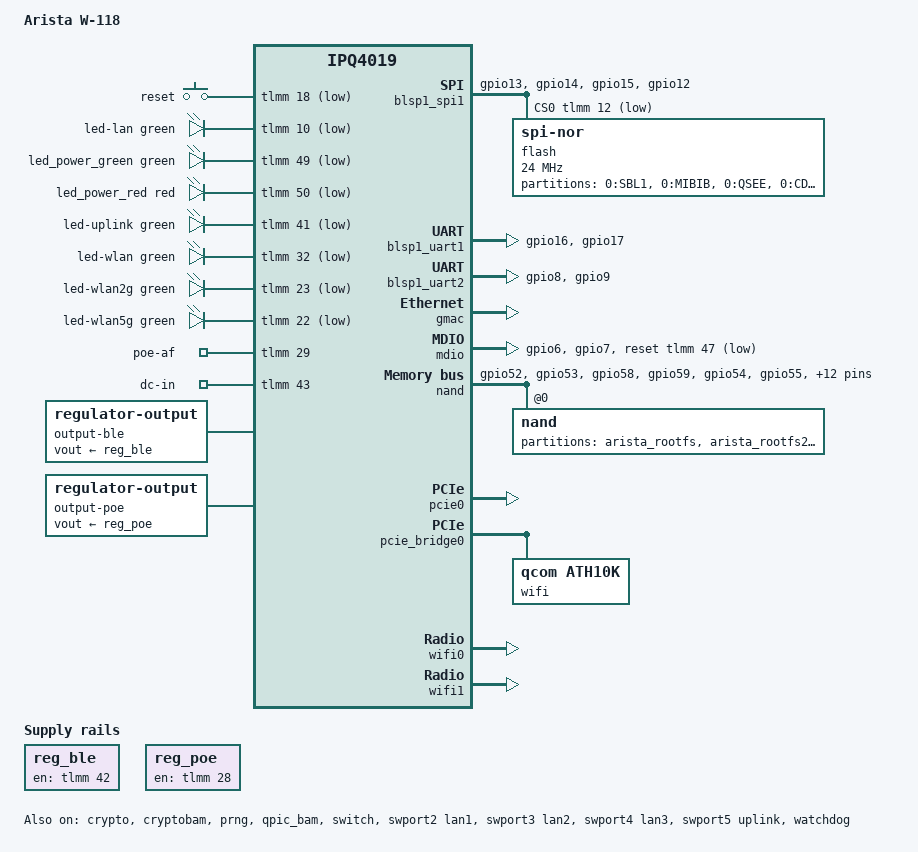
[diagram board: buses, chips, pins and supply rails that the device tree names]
// SPDX-License-Identifier: GPL-2.0-or-later OR MIT

/dts-v1/;

#include "qcom-ipq4019.dtsi"
#include <dt-bindings/gpio/gpio.h>
#include <dt-bindings/input/input.h>
#include <dt-bindings/leds/common.h>
#include <dt-bindings/soc/qcom,tcsr.h>

/ {
	model = "Arista W-118";
	compatible = "arista,w-118", "qcom,ipq4019";

	aliases {
		label-mac-device = &swport5;
		led-boot = &led_power_green;
		led-failsafe = &led_power_red;
		led-running = &led_power_green;
		led-upgrade = &led_power_red;
		serial0 = &blsp1_uart1;
		serial1 = &blsp1_uart2;
	};

	chosen {
		bootargs-append = " ubi.mtd=ubi root=/dev/ubiblock0_1";
		stdout-path = "serial0:115200n8";
	};

	keys {
		compatible = "gpio-keys";

		button-reset {
			label = "reset";
			gpios = <&tlmm 18 GPIO_ACTIVE_LOW>;
			linux,code = <KEY_RESTART>;
		};
	};

	leds {
		compatible = "gpio-leds";

		/* "Network 1/2/3": one LED for the three LAN ports */
		led-lan {
			color = <LED_COLOR_ID_GREEN>;
			function = LED_FUNCTION_LAN;
			gpios = <&tlmm 10 GPIO_ACTIVE_LOW>;
		};

		led_power_green: led-power-green {
			color = <LED_COLOR_ID_GREEN>;
			function = LED_FUNCTION_POWER;
			gpios = <&tlmm 49 GPIO_ACTIVE_LOW>;
		};

		led_power_red: led-power-red {
			color = <LED_COLOR_ID_RED>;
			function = LED_FUNCTION_POWER;
			gpios = <&tlmm 50 GPIO_ACTIVE_LOW>;
			panic-indicator;
		};

		led-uplink {
			color = <LED_COLOR_ID_GREEN>;
			function = "uplink";
			gpios = <&tlmm 41 GPIO_ACTIVE_LOW>;
		};

		/* the QCA9882 */
		led-wlan {
			color = <LED_COLOR_ID_GREEN>;
			function = LED_FUNCTION_WLAN;
			gpios = <&tlmm 32 GPIO_ACTIVE_LOW>;
		};

		led-wlan2g {
			color = <LED_COLOR_ID_GREEN>;
			function = LED_FUNCTION_WLAN_2GHZ;
			gpios = <&tlmm 23 GPIO_ACTIVE_LOW>;
		};

		led-wlan5g {
			color = <LED_COLOR_ID_GREEN>;
			function = LED_FUNCTION_WLAN_5GHZ;
			gpios = <&tlmm 22 GPIO_ACTIVE_LOW>;
		};
	};

	/*
	 * The power source, read by the PoE output's boot script; inputs,
	 * whose direction userspace cannot change.
	 */
	gpio-export {
		compatible = "gpio-export";

		poe-af {
			gpio-export,name = "poe-af";
			gpio-export,input = <0>;
			gpios = <&tlmm 29 GPIO_ACTIVE_HIGH>;
		};

		dc-in {
			gpio-export,name = "dc-in";
			gpio-export,input = <0>;
			gpios = <&tlmm 43 GPIO_ACTIVE_HIGH>;
		};
	};

	/* the NXP BLE controller's reset, held released */
	output-ble {
		compatible = "regulator-output";
		vout-supply = <&reg_ble>;
	};

	/*
	 * PoE output on lan3 (GPIO 28, high = on), off at boot. GPIO 43 is
	 * high on DC and low on PoE in; GPIO 29 is high on 802.3af and low on
	 * 802.3at. An 802.3af supply leaves no power to share, so the boot
	 * script turns the output on only from 802.3at or DC.
	 */
	output-poe {
		compatible = "regulator-output";
		vout-supply = <&reg_poe>;
	};

	reg_ble: regulator-ble {
		compatible = "regulator-fixed";
		enable-active-high;
		gpios = <&tlmm 42 GPIO_ACTIVE_HIGH>;
		regulator-boot-on;
		regulator-name = "ble";
	};

	reg_poe: regulator-poe {
		compatible = "regulator-fixed";
		enable-active-high;
		gpios = <&tlmm 28 GPIO_ACTIVE_HIGH>;
		regulator-name = "poe-out";
	};

	soc {
		tcsr@1949000 {
			compatible = "qcom,tcsr";
			reg = <0x1949000 0x100>;
			qcom,wifi_glb_cfg = <TCSR_WIFI_GLB_CFG>;
		};

		ess_tcsr@1953000 {
			qcom,ess-interface-select = <TCSR_ESS_PSGMII>;
		};

		tcsr@1957000 {
			compatible = "qcom,tcsr";
			reg = <0x1957000 0x100>;
			qcom,wifi_noc_memtype_m0_m2 = <TCSR_WIFI_NOC_MEMTYPE_M0_M2>;
		};
	};
};

&blsp_dma {
	status = "okay";
};

&blsp1_spi1 {
	pinctrl-0 = <&spi_0_pins>;
	pinctrl-names = "default";
	cs-gpios = <&tlmm 12 GPIO_ACTIVE_LOW>;
	status = "okay";

	flash@0 {
		compatible = "jedec,spi-nor";
		reg = <0>;
		spi-max-frequency = <24000000>;

		partitions {
			compatible = "fixed-partitions";
			#address-cells = <1>;
			#size-cells = <1>;

			partition@0 {
				label = "0:SBL1";
				reg = <0x0 0x40000>;
				read-only;
			};

			partition@40000 {
				label = "0:MIBIB";
				reg = <0x40000 0x20000>;
				read-only;
			};

			partition@60000 {
				label = "0:QSEE";
				reg = <0x60000 0x60000>;
				read-only;
			};

			partition@c0000 {
				label = "0:CDT";
				reg = <0xc0000 0x10000>;
				read-only;
			};

			partition@d0000 {
				label = "0:DDRPARAMS";
				reg = <0xd0000 0x10000>;
				read-only;
			};

			partition@e0000 {
				label = "0:APPSBL";
				reg = <0xe0000 0x80000>;
				read-only;
			};

			partition@160000 {
				label = "0:APPSBLENV";
				reg = <0x160000 0x10000>;

				nvmem-layout {
					compatible = "u-boot,env";
				};
			};

			partition@170000 {
				label = "0:ART";
				reg = <0x170000 0x10000>;
				read-only;

				nvmem-layout {
					compatible = "fixed-layout";
					#address-cells = <1>;
					#size-cells = <1>;

					macaddr_art_0: macaddr@0 {
						reg = <0x0 0x6>;
					};

					macaddr_art_6: macaddr@6 {
						reg = <0x6 0x6>;
					};

					serial-number@30 {
						reg = <0x30 0xd>;
					};

					precal_art_1000: precal@1000 {
						reg = <0x1000 0x2f20>;
					};

					precal_art_5000: precal@5000 {
						reg = <0x5000 0x2f20>;
					};

					cal_art_9000: cal@9000 {
						reg = <0x9000 0x844>;
					};
				};
			};

			/* the stock firmware's two kernel slots */
			partition@180000 {
				label = "0:HLOS";
				reg = <0x180000 0x500000>;
				read-only;
			};

			partition@680000 {
				label = "0:HLOS1";
				reg = <0x680000 0x500000>;
				read-only;
			};

			partition@b80000 {
				label = "0:UCONFIG";
				reg = <0xb80000 0x400000>;
				read-only;
			};
		};
	};
};

&blsp1_uart1 {
	pinctrl-0 = <&serial_0_pins>;
	pinctrl-names = "default";
	status = "okay";
};

/* the NXP BLE controller */
&blsp1_uart2 {
	pinctrl-0 = <&serial_1_pins>;
	pinctrl-names = "default";
	status = "okay";
};

&crypto {
	status = "okay";
};

&cryptobam {
	status = "okay";
};

&gmac {
	nvmem-cells = <&macaddr_art_6>;
	nvmem-cell-names = "mac-address";
	status = "okay";
};

&mdio {
	pinctrl-0 = <&mdio_pins>;
	pinctrl-names = "default";
	reset-gpios = <&tlmm 47 GPIO_ACTIVE_LOW>;
	reset-delay-us = <2000>;
	status = "okay";
};

&nand {
	pinctrl-0 = <&nand_pins>;
	pinctrl-names = "default";
	status = "okay";

	nand@0 {
		partitions {
			compatible = "fixed-partitions";
			#address-cells = <1>;
			#size-cells = <1>;

			/*
			 * The stock firmware's two root slots. Not labelled
			 * "rootfs": OpenWrt would take that as its own root.
			 */
			partition@0 {
				label = "arista_rootfs";
				reg = <0x0 0x4000000>;
				read-only;
			};

			partition@4000000 {
				label = "arista_rootfs2";
				reg = <0x4000000 0x4000000>;
				read-only;
			};

			/* unused by the stock firmware */
			partition@8000000 {
				label = "ubi";
				reg = <0x8000000 0x8000000>;
			};
		};
	};
};

&pcie0 {
	perst-gpios = <&tlmm 48 GPIO_ACTIVE_LOW>;
	wake-gpios = <&tlmm 46 GPIO_ACTIVE_LOW>;
	status = "okay";
};

&pcie_bridge0 {
	wifi@0,0 {
		compatible = "qcom,ath10k";
		reg = <0x00010000 0 0 0 0>;
		nvmem-cells = <&cal_art_9000>;
		nvmem-cell-names = "calibration";
	};
};

&prng {
	status = "okay";
};

&qpic_bam {
	status = "okay";
};

&switch {
	status = "okay";
};

&swport2 {
	label = "lan1";
	status = "okay";
};

&swport3 {
	label = "lan2";
	status = "okay";
};

&swport4 {
	label = "lan3";
	status = "okay";
};

&swport5 {
	label = "uplink";
	nvmem-cells = <&macaddr_art_0>;
	nvmem-cell-names = "mac-address";
	status = "okay";
};

&tlmm {
	mdio_pins: mdio_pinmux {
		mux_1 {
			pins = "gpio6";
			function = "mdio";
			bias-pull-up;
		};

		mux_2 {
			pins = "gpio7";
			function = "mdc";
			bias-pull-up;
		};
	};

	nand_pins: nand_pins {
		pullups {
			pins = "gpio52", "gpio53", "gpio58", "gpio59";
			function = "qpic";
			bias-pull-up;
		};

		pulldowns {
			pins = "gpio54", "gpio55", "gpio56",
				"gpio57", "gpio60", "gpio61",
				"gpio62", "gpio63", "gpio64",
				"gpio65", "gpio66", "gpio67",
				"gpio68", "gpio69";
			function = "qpic";
			bias-pull-down;
		};
	};

	serial_0_pins: serial_pinmux {
		mux {
			pins = "gpio16", "gpio17";
			function = "blsp_uart0";
			bias-disable;
		};
	};

	serial_1_pins: serial1_pinmux {
		mux {
			pins = "gpio8", "gpio9";
			function = "blsp_uart1";
			bias-disable;
		};
	};

	spi_0_pins: spi_0_pinmux {
		pinmux {
			function = "blsp_spi0";
			pins = "gpio13", "gpio14", "gpio15";
			drive-strength = <12>;
			bias-disable;
		};

		pinmux_cs {
			function = "gpio";
			pins = "gpio12";
			drive-strength = <2>;
			bias-disable;
			output-high;
		};
	};
};

&watchdog {
	status = "okay";
};

&wifi0 {
	nvmem-cells = <&precal_art_1000>;
	nvmem-cell-names = "pre-calibration";
	qcom,ath10k-calibration-variant = "Arista-W118";
	status = "okay";
};

&wifi1 {
	nvmem-cells = <&precal_art_5000>;
	nvmem-cell-names = "pre-calibration";
	qcom,ath10k-calibration-variant = "Arista-W118";
	status = "okay";
};
